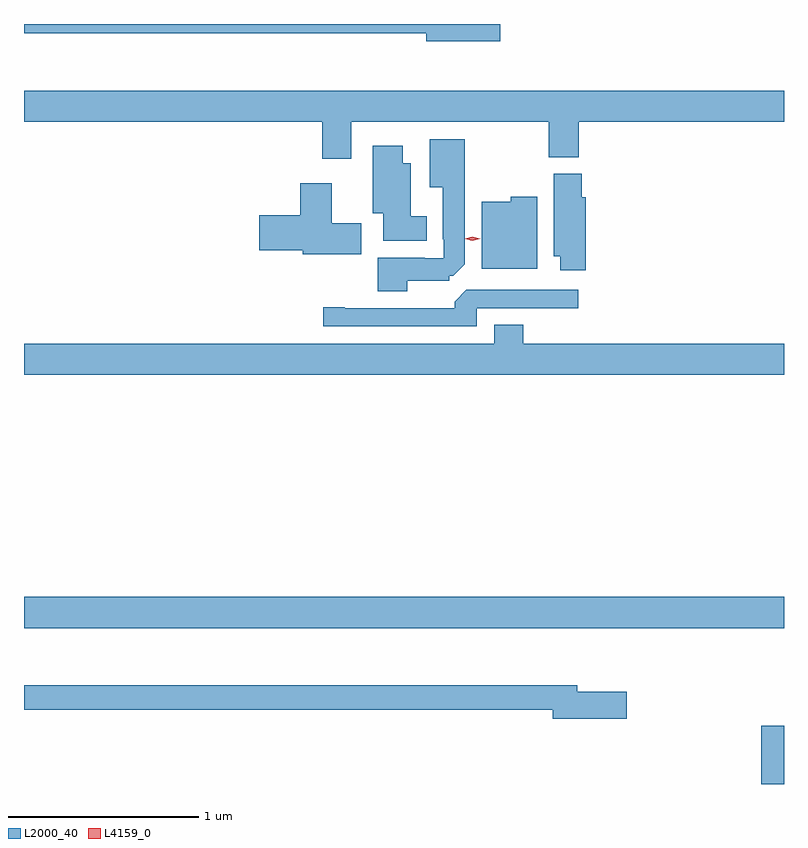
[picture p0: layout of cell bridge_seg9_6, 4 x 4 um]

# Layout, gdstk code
import gdstk
lib = gdstk.Library(unit=1e-6, precision=1e-09)
def R(c, l, rs):  # rectangles x0, y0, x1, y1
    for r in rs: c.add(gdstk.rectangle(r[:2], r[2:], *l))
def P(c, l, *ps):  # polygons
    for p in ps: c.add(gdstk.Polygon(p, *l))
L2000_40 = (2000, 40)
L4159_0 = (4159, 0)

bridge_seg9_6 = lib.new_cell('bridge_seg9_6')
R(bridge_seg9_6, L2000_40, [(1038.902,1238.223,1039.021,1238.53), (1035.021,1239.044,1039.021,1239.208)])
P(bridge_seg9_6, L2000_40, [(1037.527,1242.223),(1035.021,1242.223),(1035.021,1242.174),(1037.138,1242.174),(1037.138,1242.131),(1037.527,1242.131)],
  [(1036.744,1241.708),(1037.782,1241.708),(1037.782,1241.521),(1037.942,1241.521),(1037.942,1241.708),(1039.021,1241.708),(1039.021,1241.872),(1035.021,1241.872),(1035.021,1241.708),(1036.592,1241.708),(1036.592,1241.514),(1036.744,1241.514)],
  [(1037.038,1240.871),(1037.259,1240.871),(1037.259,1240.899),(1037.281,1240.899),(1037.341,1240.959),(1037.341,1241.617),(1037.156,1241.617),(1037.156,1241.363),(1037.225,1241.363),(1037.225,1241.089),(1037.229,1241.089),(1037.229,1240.989),(1037.129,1240.989),(1037.129,1240.993),(1036.883,1240.993),(1036.883,1240.817),(1037.038,1240.817)],
  [(1037.14,1241.212),(1037.056,1241.212),(1037.056,1241.491),(1037.014,1241.491),(1037.014,1241.581),(1036.856,1241.581),(1036.856,1241.228),(1036.913,1241.228),(1036.913,1241.081),(1037.14,1241.081)],
  [(1037.978,1241.31),(1037.957,1241.31),(1037.957,1241.436),(1037.81,1241.436),(1037.81,1241),(1037.843,1241),(1037.843,1240.926),(1037.978,1240.926)],
  [(1036.795,1241.175),(1036.642,1241.175),(1036.642,1241.386),(1036.475,1241.386),(1036.475,1241.216),(1036.26,1241.216),(1036.26,1241.033),(1036.487,1241.033),(1036.487,1241.012),(1036.795,1241.012)],
  [(1037.722,1241.314),(1037.583,1241.314),(1037.583,1241.287),(1037.429,1241.287),(1037.429,1240.934),(1037.722,1240.934)],
  [(1037.403,1240.728),(1037.938,1240.728),(1037.938,1240.824),(1037.349,1240.824),(1037.288,1240.762),(1037.288,1240.728),(1036.708,1240.728),(1036.708,1240.733),(1036.596,1240.733),(1036.596,1240.632),(1037.403,1240.632)],
  [(1039.021,1240.54),(1037.648,1240.54),(1037.648,1240.639),(1037.495,1240.639),(1037.495,1240.54),(1035.021,1240.54),(1035.021,1240.376),(1039.021,1240.376)],
  [(1038.193,1238.709),(1037.932,1238.709),(1037.932,1238.743),(1035.021,1238.743),(1035.021,1238.614),(1037.804,1238.614),(1037.804,1238.567),(1038.193,1238.567)])
P(bridge_seg9_6, L4159_0, [(1037.381,1241.082),(1037.34,1241.092),(1037.34,1241.092),(1037.34,1241.093),(1037.381,1241.102),(1037.422,1241.093),(1037.422,1241.092),(1037.422,1241.092)])

lib.write_gds('bridge_seg9_6.gds')
